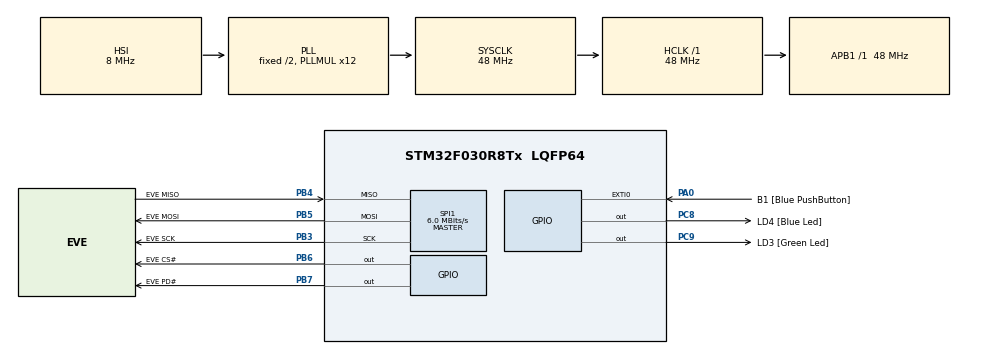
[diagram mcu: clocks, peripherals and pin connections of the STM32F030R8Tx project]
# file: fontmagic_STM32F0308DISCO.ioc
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Mcu.Family=STM32F0
Mcu.Name=STM32F030R8Tx
Mcu.Package=LQFP64
PA0.GPIO_Label=B1 [Blue PushButton]
PA0.GPIO_ModeDefaultEXTI=GPIO_MODE_EVT_RISING
PA0.Signal=GPXTI0
PA13.GPIO_Label=SWDIO
PA13.Mode=Serial_Wire
PA13.Signal=SYS_SWDIO
PA14.GPIO_Label=SWCLK
PA14.Mode=Serial_Wire
PA14.Signal=SYS_SWCLK
PB3.GPIO_Label=EVE SCK
PB3.Mode=Full_Duplex_Master
PB3.Signal=SPI1_SCK
PB4.GPIO_Label=EVE MISO
PB4.Mode=Full_Duplex_Master
PB4.Signal=SPI1_MISO
PB5.GPIO_Label=EVE MOSI
PB5.Mode=Full_Duplex_Master
PB5.Signal=SPI1_MOSI
PB6.GPIO_Label=EVE CS\#
PB6.Signal=GPIO_Output
PB7.GPIO_Label=EVE PD\#
PB7.Signal=GPIO_Output
PC8.GPIO_Label=LD4 [Blue Led]
PC8.Signal=GPIO_Output
PC9.GPIO_Label=LD3 [Green Led]
PC9.Signal=GPIO_Output
ProjectManager.HeapSize=0x200
ProjectManager.StackSize=0x400
ProjectManager.TargetToolchain=STM32CubeIDE
RCC.AHBFreq_Value=48000000
RCC.APB1Freq_Value=48000000
RCC.APB1TimFreq_Value=48000000
RCC.HCLKFreq_Value=48000000
RCC.PLLMUL=RCC_PLL_MUL12
RCC.SYSCLKFreq_VALUE=48000000
RCC.SYSCLKSource=RCC_SYSCLKSOURCE_PLLCLK
SPI1.BaudRatePrescaler=SPI_BAUDRATEPRESCALER_8
SPI1.CalculateBaudRate=6.0 MBits/s
SPI1.DataSize=SPI_DATASIZE_8BIT
SPI1.Direction=SPI_DIRECTION_2LINES
SPI1.Mode=SPI_MODE_MASTER
SPI1.NSSPMode=SPI_NSS_PULSE_DISABLE
SPI1.VirtualType=VM_MASTER
board=STM32F0308-DISCO

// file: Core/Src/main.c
/* USER CODE BEGIN Header */
/**
  ******************************************************************************
  * @file           : main.c
  * @brief          : Main program body
  ******************************************************************************
  * @attention
  *
  * Copyright (c) 2024 STMicroelectronics.
  * All rights reserved.
  *
  * This software is licensed under terms that can be found in the LICENSE file
  * in the root directory of this software component.
  * If no LICENSE file comes with this software, it is provided AS-IS.
  *
  ******************************************************************************
  */
/* USER CODE END Header */
#include "main.h"

/* USER CODE BEGIN Includes */
#include <string.h>
#include <stdint.h> // for Uint8/16/32 and Int8/16/32 data types

#include <EVE.h>

#include <eve_example.h>
/* USER CODE END Includes */

SPI_HandleTypeDef hspi1;

/* USER CODE BEGIN PV */

GPIO_TypeDef *config_gpio;
uint16_t config_pin_pd;
uint16_t config_pin_cs;

/* USER CODE END PV */

void SystemClock_Config(void);
static void MX_GPIO_Init(void);
static void MX_SPI1_Init(void);

/* USER CODE BEGIN 0 */

/**
 * @brief Functions used to store calibration data in file.
   @details Currently not used.
 */
//@{
int8_t platform_calib_init(void)
{
    return -1;
}

int8_t platform_calib_write(struct touchscreen_calibration *calib)
{
    return 0;
}

int8_t platform_calib_read(struct touchscreen_calibration *calib)
{
    return -1;
}
//@}

/* USER CODE END 0 */

int main(void)
{

  /* MCU Configuration--------------------------------------------------------*/

  /* Reset of all peripherals, Initializes the Flash interface and the Systick. */
  HAL_Init();

  /* Configure the system clock */
  SystemClock_Config();

  /* Initialize all configured peripherals */
  MX_GPIO_Init();
  MX_SPI1_Init();
  /* USER CODE BEGIN 2 */

  eve_example();

  /* USER CODE END 2 */

  /* Infinite loop */
  while (1)
  {

  }
}

void SystemClock_Config(void)
{
  RCC_OscInitTypeDef RCC_OscInitStruct = {0};
  RCC_ClkInitTypeDef RCC_ClkInitStruct = {0};

  /** Initializes the RCC Oscillators according to the specified parameters
  * in the RCC_OscInitTypeDef structure.
  */
  RCC_OscInitStruct.OscillatorType = RCC_OSCILLATORTYPE_HSI;
  RCC_OscInitStruct.HSIState = RCC_HSI_ON;
  RCC_OscInitStruct.HSICalibrationValue = RCC_HSICALIBRATION_DEFAULT;
  RCC_OscInitStruct.PLL.PLLState = RCC_PLL_ON;
  RCC_OscInitStruct.PLL.PLLSource = RCC_PLLSOURCE_HSI;
  RCC_OscInitStruct.PLL.PLLMUL = RCC_PLL_MUL12;
  RCC_OscInitStruct.PLL.PREDIV = RCC_PREDIV_DIV1;
  if (HAL_RCC_OscConfig(&RCC_OscInitStruct) != HAL_OK)
  {
    Error_Handler();
  }

  /** Initializes the CPU, AHB and APB buses clocks
  */
  RCC_ClkInitStruct.ClockType = RCC_CLOCKTYPE_HCLK|RCC_CLOCKTYPE_SYSCLK
                              |RCC_CLOCKTYPE_PCLK1;
  RCC_ClkInitStruct.SYSCLKSource = RCC_SYSCLKSOURCE_PLLCLK;
  RCC_ClkInitStruct.AHBCLKDivider = RCC_SYSCLK_DIV1;
  RCC_ClkInitStruct.APB1CLKDivider = RCC_HCLK_DIV1;

  if (HAL_RCC_ClockConfig(&RCC_ClkInitStruct, FLASH_LATENCY_1) != HAL_OK)
  {
    Error_Handler();
  }
}

static void MX_SPI1_Init(void)
{

  /* SPI1 parameter configuration*/
  hspi1.Instance = SPI1;
  hspi1.Init.Mode = SPI_MODE_MASTER;
  hspi1.Init.Direction = SPI_DIRECTION_2LINES;
  hspi1.Init.DataSize = SPI_DATASIZE_8BIT;
  hspi1.Init.CLKPolarity = SPI_POLARITY_LOW;
  hspi1.Init.CLKPhase = SPI_PHASE_1EDGE;
  hspi1.Init.NSS = SPI_NSS_SOFT;
  hspi1.Init.BaudRatePrescaler = SPI_BAUDRATEPRESCALER_8;
  hspi1.Init.FirstBit = SPI_FIRSTBIT_MSB;
  hspi1.Init.TIMode = SPI_TIMODE_DISABLE;
  hspi1.Init.CRCCalculation = SPI_CRCCALCULATION_DISABLE;
  hspi1.Init.CRCPolynomial = 7;
  hspi1.Init.CRCLength = SPI_CRC_LENGTH_DATASIZE;
  hspi1.Init.NSSPMode = SPI_NSS_PULSE_DISABLE;
  if (HAL_SPI_Init(&hspi1) != HAL_OK)
  {
    Error_Handler();
  }

}

static void MX_GPIO_Init(void)
{
  GPIO_InitTypeDef GPIO_InitStruct = {0};

  /* GPIO Ports Clock Enable */
  __HAL_RCC_GPIOA_CLK_ENABLE();
  __HAL_RCC_GPIOC_CLK_ENABLE();
  __HAL_RCC_GPIOB_CLK_ENABLE();

  /*Configure GPIO pin Output Level */
  HAL_GPIO_WritePin(GPIOC, LD4_Pin|LD3_Pin, GPIO_PIN_RESET);

  /*Configure GPIO pin Output Level */
  HAL_GPIO_WritePin(GPIOB, EVE_CS__Pin|EVE_PD__Pin, GPIO_PIN_RESET);

  /*Configure GPIO pin : B1_Pin */
  GPIO_InitStruct.Pin = B1_Pin;
  GPIO_InitStruct.Mode = GPIO_MODE_EVT_RISING;
  GPIO_InitStruct.Pull = GPIO_NOPULL;
  HAL_GPIO_Init(B1_GPIO_Port, &GPIO_InitStruct);

  /*Configure GPIO pins : LD4_Pin LD3_Pin */
  GPIO_InitStruct.Pin = LD4_Pin|LD3_Pin;
  GPIO_InitStruct.Mode = GPIO_MODE_OUTPUT_PP;
  GPIO_InitStruct.Pull = GPIO_NOPULL;
  GPIO_InitStruct.Speed = GPIO_SPEED_FREQ_LOW;
  HAL_GPIO_Init(GPIOC, &GPIO_InitStruct);

  /*Configure GPIO pins : EVE_CS__Pin EVE_PD__Pin */
  GPIO_InitStruct.Pin = EVE_CS__Pin|EVE_PD__Pin;
  GPIO_InitStruct.Mode = GPIO_MODE_OUTPUT_PP;
  GPIO_InitStruct.Pull = GPIO_NOPULL;
  GPIO_InitStruct.Speed = GPIO_SPEED_FREQ_LOW;
  HAL_GPIO_Init(GPIOB, &GPIO_InitStruct);

  /* USER CODE BEGIN MX_GPIO_Init_2 */

    /* Must match above. If this has been changed by STM32CubeMX then update. */
    /* This is extern from the EVE_MCU_STM32.c file. */
    config_gpio = GPIOB;
    config_pin_cs = EVE_CS__Pin;
    config_pin_pd = EVE_PD__Pin;

  /* USER CODE END MX_GPIO_Init_2 */
}

void Error_Handler(void)
{
  __disable_irq();
  while (1)
  {
  }
}
